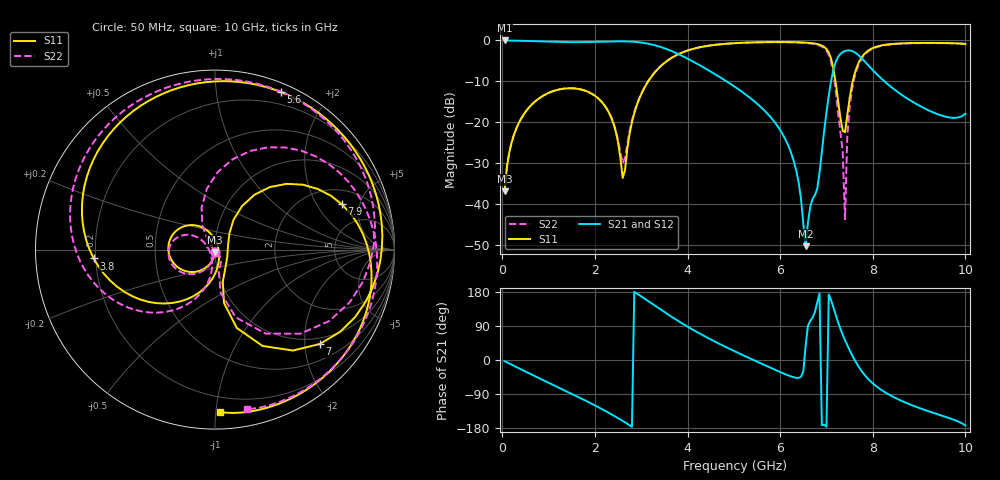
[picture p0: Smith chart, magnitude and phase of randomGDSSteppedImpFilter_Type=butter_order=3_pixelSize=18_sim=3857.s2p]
! freq	dB(S11)	phase(S11)	dB(S12)	phase(S12)
!  dB(S21)	phase(S21)	dB(S22)	phase(S22)
!S-par simulation data
#  GHz  S  DB  R 50
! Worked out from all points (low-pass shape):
!   200 points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, 50 MHz to 10 GHz, reference 50 ohm
!   highest |S21| = -0.01 dB at 50 MHz (marker M1); lowest = -50.3 dB at 6.55 GHz (marker M2)
!   |S21| within 3 dB of the highest: start of sweep to 3.737 GHz; 7.334 GHz to 7.621 GHz (286.5 MHz wide, 3.83 % of centre)
!   lowest |S11| = -36.9 dB at 50 MHz (marker M3), VSWR 1.03, Z = 49.9 - j1.42 ohm
!   |S11| at or under -10 dB: start of sweep to 3.152 GHz; 7.194 GHz to 7.568 GHz (374.3 MHz wide, 5.07 % of centre)
!   |S22| runs from -43.7 to -0.4 dB; largest |S21 - S12| = 0
!   S11 on the Smith chart (normalised r, x): 50 MHz: 1.00, -0.03; 3.8 GHz: 0.19, -0.03; 5.6 GHz: 0.08, +1.50; 7 GHz: 0.85, -2.34; 7.9 GHz: 2.92, +3.38; 10 GHz: 0.10, -1.03
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0.05  -36.95 -93.0  -0.01 -3.1  -0.01 -3.1  -36.94 -92.6
0.55  -16.77 -125.7  -0.14 -33.4  -0.14 -33.4  -16.76 -122.0
1.75  -12.15 158.2  -0.40 -104.3  -0.40 -104.3  -12.15 172.6
2.35  -18.82 112.1  -0.24 -142.9  -0.24 -142.9  -18.73 144.9
2.6  -33.64 33.9  -0.22 -160.8  -0.22 -160.8  -29.99 -168.2
2.9  -16.01 -94.4  -0.39 176.0  -0.39 176.0  -15.80 -100.5
3.4  -6.53 -141.9  -1.53 134.8  -1.53 134.8  -6.47 -132.3
3.8  -3.38 -175.8  -3.33 102.9  -3.33 102.9  -3.34 -161.4
5.05  -0.65 99.2  -11.56 21.2  -11.56 21.2  -0.65 121.5
5.6  -0.43 67.2  -16.48 -9.9  -16.48 -9.9  -0.44 90.6
6.25  -0.41 28.9  -27.94 -44.0  -27.94 -44.0  -0.46 50.8
6.55  -0.54 8.5  -50.33 37.6  -50.33 37.6  -0.62 28.0
6.7  -0.69 -3.7  -38.77 112.1  -38.77 112.1  -0.81 13.9
7  -2.09 -42.0  -17.56 -176.3  -17.56 -176.3  -2.49 -31.9
7.15  -6.88 -74.5  -7.16 138.9  -7.16 138.9  -8.08 -73.0
7.35  -22.13 -29.0  -2.87 66.7  -2.87 66.7  -27.05 -53.1
7.4  -22.43 16.5  -2.59 52.3  -2.59 52.3  -43.73 -129.6
7.45  -18.37 48.3  -2.45 38.8  -2.45 38.8  -23.37 127.3
7.55  -10.89 58.2  -2.58 13.6  -2.58 13.6  -12.18 107.7
7.9  -2.49 19.6  -6.05 -49.9  -6.05 -49.9  -2.71 48.8
8.35  -0.94 -14.9  -10.96 -91.3  -10.96 -91.3  -1.03 6.7
10  -0.86 -88.2  -17.92 -172.8  -17.92 -172.8  -0.86 -78.7
